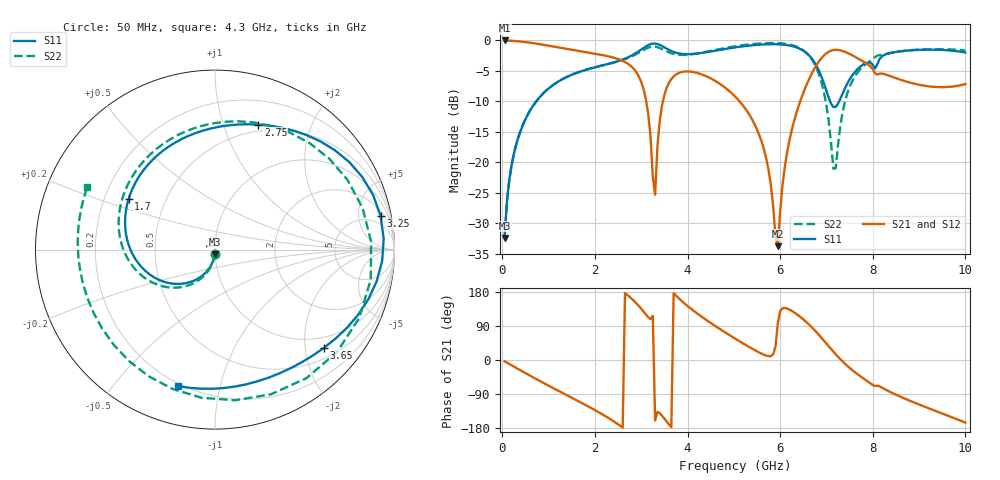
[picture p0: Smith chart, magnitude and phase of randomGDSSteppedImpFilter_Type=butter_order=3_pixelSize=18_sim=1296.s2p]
! freq	dB(S11)	phase(S11)	dB(S12)	phase(S12)
!  dB(S21)	phase(S21)	dB(S22)	phase(S22)
!S-par simulation data
#  GHz  S  DB  R 50
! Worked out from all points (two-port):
!   200 points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, 50 MHz to 10 GHz, reference 50 ohm
!   highest |S21| = -0.01 dB at 50 MHz (marker M1); lowest = -33.7 dB at 5.95 GHz (marker M2)
!   |S21| within 3 dB of the highest: start of sweep to 2.485 GHz; 6.882 GHz to 7.691 GHz (808.8 MHz wide, 11.1 % of centre)
!   lowest |S11| = -32.4 dB at 50 MHz (marker M3), VSWR 1.05, Z = 49.9 - j2.39 ohm
!   |S11| at or under -10 dB: start of sweep to 733.8 MHz; 7.08 GHz to 7.273 GHz (192.9 MHz wide, 2.69 % of centre)
!   |S22| runs from -32.4 to -0.4 dB; largest |S21 - S12| = 0
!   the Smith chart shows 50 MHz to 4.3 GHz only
!   S11 on the Smith chart (normalised r, x): 50 MHz: 1.00, -0.05; 1.7 GHz: 0.30, +0.25; 2.75 GHz: 0.43, +1.31; 3.25 GHz: 2.78, +9.14; 3.65 GHz: 0.73, -2.42; 4.3 GHz: 0.19, -0.75
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0.05  -32.39 -92.1  -0.01 -3.5  -0.01 -3.5  -32.37 -91.6
0.2  -20.48 -104.8  -0.07 -14.0  -0.07 -14.0  -20.47 -103.3
0.5  -12.92 -127.1  -0.28 -34.6  -0.28 -34.6  -12.91 -123.1
1.7  -5.07 149.8  -1.80 -112.4  -1.80 -112.4  -5.07 164.2
1.75  -4.95 146.4  -1.86 -115.6  -1.86 -115.6  -4.95 161.2
2.75  -2.65 70.9  -4.03 166.7  -4.03 166.7  -2.78 79.9
3.1  -0.99 33.2  -9.61 120.2  -9.61 120.2  -1.37 15.7
3.25  -0.52 11.4  -22.32 116.4  -22.32 116.4  -1.02 -25.3
3.3  -0.52 3.8  -25.30 -159.5  -25.30 -159.5  -1.03 -40.0
3.4  -0.74 -11.1  -13.17 -140.2  -13.17 -140.2  -1.27 -68.9
3.65  -1.75 -41.9  -6.34 -177.0  -6.34 -177.0  -2.11 -127.6
4.3  -2.07 -105.4  -5.56 114.7  -5.56 114.7  -2.02 154.0
5.05  -1.13 -173.0  -9.38 54.8  -9.38 54.8  -0.95 100.1
5.65  -0.66 136.5  -17.85 13.9  -17.85 13.9  -0.47 60.3
5.95  -0.64 111.4  -33.72 97.5  -33.72 97.5  -0.45 39.1
6.2  -0.84 89.7  -16.40 133.0  -16.40 133.0  -0.68 19.5
6.7  -3.15 42.4  -5.19 84.4  -5.19 84.4  -3.31 -32.7
7.15  -10.92 40.9  -1.59 21.8  -1.59 21.8  -21.05 -152.0
7.6  -5.31 54.0  -2.62 -30.9  -2.62 -30.9  -6.07 52.4
8.35  -2.13 12.6  -5.78 -82.8  -5.78 -82.8  -2.11 -1.0
9.1  -1.53 -29.6  -7.41 -122.3  -7.41 -122.3  -1.48 -34.5
10  -1.99 -79.0  -7.15 -165.3  -7.15 -165.3  -1.67 -67.9
